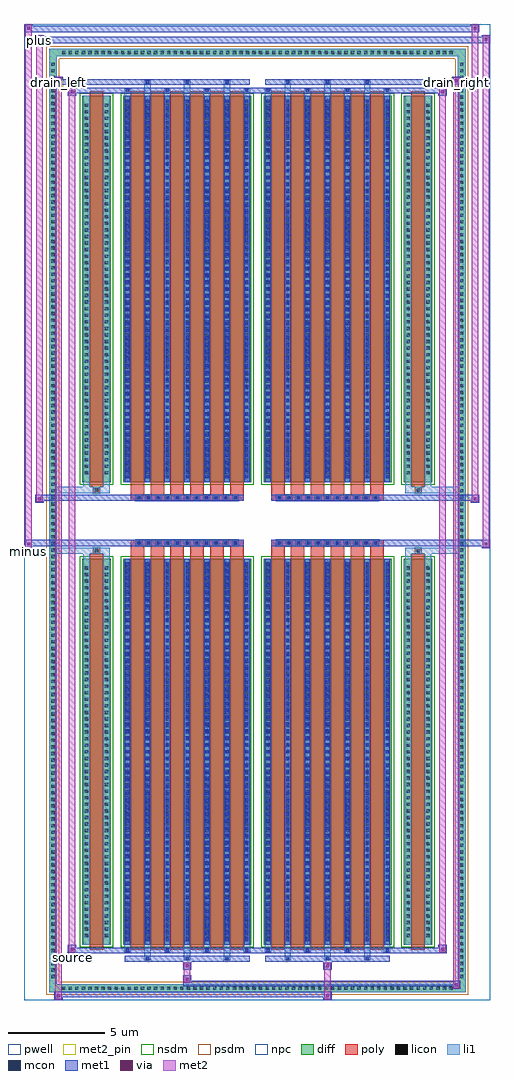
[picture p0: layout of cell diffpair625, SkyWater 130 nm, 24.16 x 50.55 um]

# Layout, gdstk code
import gdstk
lib = gdstk.Library(unit=1e-6, precision=5e-09)
def R(c, l, rs):  # rectangles x0, y0, x1, y1
    for r in rs: c.add(gdstk.rectangle(r[:2], r[2:], *l))
def A(c, l, x, y, w, h, nx, ny, dx, dy):  # array of equal rectangles
    R(c, l, [(x+i*dx, y+j*dy, x+i*dx+w, y+j*dy+h) for i in range(nx) for j in range(ny)])
def P(c, l, *ps):  # polygons
    for p in ps: c.add(gdstk.Polygon(p, *l))
pwell = (64, 44)
diff = (65, 20)
poly = (66, 20)
licon = (66, 44)
li1 = (67, 20)
mcon = (67, 44)
met1 = (68, 20)
via = (68, 44)
met2_pin = (69, 16)
met2 = (69, 20)
nsdm = (93, 44)
psdm = (94, 20)
npc = (95, 20)

diffpair625 = lib.new_cell('diffpair625')
R(diffpair625, pwell, [(-12.06,-24.84,12.06,25.71), (-9.38,-23.03,-0.01,-0.805), (0.01,-23.03,9.38,-0.805), (-9.38,0.805,-0.01,23.03), (0.01,0.805,9.38,23.03)])
A(diffpair625, diff, -10.235, -24.44, 0.41, 0.41, 60, 2, 0.34, 48.47)
A(diffpair625, diff, -10.79, -23.835, 0.41, 0.41, 1, 140, 0, 0.34)
A(diffpair625, diff, 10.38, -23.835, 0.41, 0.41, 1, 140, 0, 0.34)
R(diffpair625, diff, [(-10.235,-24.44,10.235,-24.03), (-10.79,-23.835,-10.38,23.835), (10.38,-23.835,10.79,23.835), (-9.07,-21.985,-7.59,-1.985), (-6.95,-21.985,-0.32,-1.985), (0.32,-21.985,6.95,-1.985), (7.59,-21.985,9.07,-1.985), (-9.07,1.985,-7.59,21.985), (-6.95,1.985,-0.32,21.985), (0.32,1.985,6.95,21.985), (7.59,1.985,9.07,21.985), (-10.235,24.03,10.235,24.44)])
P(diffpair625, diff, [(10.79,24.44),(-10.79,24.44),(-10.79,-24.03),(-10.38,-24.03),(-10.38,24.03),(10.38,24.03),(10.38,-24.03),(-10.38,-24.03),(-10.79,-24.03),(-10.79,-24.44),(10.79,-24.44)])
A(diffpair625, poly, -6.56, -22.235, 0.7, 20.5, 6, 2, 1.03, 23.97)
A(diffpair625, poly, 0.71, -22.235, 0.7, 20.5, 6, 2, 1.03, 23.97)
A(diffpair625, poly, -6.56, -1.735, 0.7, 0.4, 6, 2, 1.03, 3.07)
A(diffpair625, poly, 0.71, -1.735, 0.7, 0.4, 6, 2, 1.03, 3.07)
A(diffpair625, poly, -6.3, -1.335, 0.33, 0.33, 11, 2, 0.5, 2.34)
A(diffpair625, poly, 0.97, -1.335, 0.33, 0.33, 11, 2, 0.5, 2.34)
R(diffpair625, poly, [(-8.68,-22.235,-7.98,-1.735), (7.98,-22.235,8.68,-1.735), (-8.495,-1.735,-8.165,-1.405), (-8.495,-1.735,-8.165,-1.405), (8.165,-1.735,8.495,-1.405), (8.165,-1.735,8.495,-1.405), (-6.56,-1.335,-0.71,-1.005), (0.71,-1.335,6.56,-1.005), (-6.56,1.005,-0.71,1.335), (0.71,1.005,6.56,1.335), (-8.495,1.405,-8.165,1.735), (-8.495,1.405,-8.165,1.735), (8.165,1.405,8.495,1.735), (8.165,1.405,8.495,1.735), (-8.68,1.735,-7.98,22.235), (7.98,1.735,8.68,22.235)])
A(diffpair625, licon, -10.115, -24.32, 0.17, 0.17, 60, 2, 0.34, 48.47)
A(diffpair625, licon, -10.67, -23.715, 0.17, 0.17, 1, 140, 0, 0.34)
A(diffpair625, licon, 10.5, -23.715, 0.17, 0.17, 1, 140, 0, 0.34)
A(diffpair625, licon, -8.93, -21.59, 0.17, 0.17, 1, 57, 0, 0.34)
A(diffpair625, licon, -7.9, -21.59, 0.17, 0.17, 1, 57, 0, 0.34)
A(diffpair625, licon, -6.81, -21.59, 0.17, 0.17, 7, 57, 1.03, 0.34)
A(diffpair625, licon, 0.46, -21.59, 0.17, 0.17, 7, 57, 1.03, 0.34)
A(diffpair625, licon, 7.73, -21.59, 0.17, 0.17, 1, 57, 0, 0.34)
A(diffpair625, licon, 8.76, -21.59, 0.17, 0.17, 1, 57, 0, 0.34)
A(diffpair625, licon, -6.22, -1.255, 0.17, 0.17, 11, 2, 0.5, 2.34)
A(diffpair625, licon, 1.05, -1.255, 0.17, 0.17, 11, 2, 0.5, 2.34)
A(diffpair625, licon, -8.93, 2.38, 0.17, 0.17, 1, 57, 0, 0.34)
A(diffpair625, licon, -7.9, 2.38, 0.17, 0.17, 1, 57, 0, 0.34)
A(diffpair625, licon, -6.81, 2.38, 0.17, 0.17, 7, 57, 1.03, 0.34)
A(diffpair625, licon, 0.46, 2.38, 0.17, 0.17, 7, 57, 1.03, 0.34)
A(diffpair625, licon, 7.73, 2.38, 0.17, 0.17, 1, 57, 0, 0.34)
A(diffpair625, licon, 8.76, 2.38, 0.17, 0.17, 1, 57, 0, 0.34)
R(diffpair625, licon, [(-8.415,-1.655,-8.245,-1.485), (8.245,-1.655,8.415,-1.485), (-8.415,1.485,-8.245,1.655), (8.245,1.485,8.415,1.655)])
A(diffpair625, li1, -10.195, -24.4, 0.33, 0.33, 60, 2, 0.34, 48.47)
A(diffpair625, li1, -10.75, -23.795, 0.33, 0.33, 1, 140, 0, 0.34)
A(diffpair625, li1, 10.42, -23.795, 0.33, 0.33, 1, 140, 0, 0.34)
A(diffpair625, li1, -5.86, -22.79, 0.33, 0.805, 3, 2, 2.06, 44.775)
A(diffpair625, li1, -5.78, -22.79, 0.17, 0.17, 3, 2, 2.06, 45.41)
A(diffpair625, li1, 1.41, -22.79, 0.33, 0.805, 3, 2, 2.06, 44.775)
A(diffpair625, li1, 1.49, -22.79, 0.17, 0.17, 3, 2, 2.06, 45.41)
A(diffpair625, li1, -6.89, -22.36, 0.33, 0.375, 4, 2, 2.06, 44.345)
A(diffpair625, li1, -6.81, -22.36, 0.17, 0.17, 4, 2, 2.06, 44.55)
A(diffpair625, li1, 0.38, -22.36, 0.33, 0.375, 4, 2, 2.06, 44.345)
A(diffpair625, li1, 0.46, -22.36, 0.17, 0.17, 4, 2, 2.06, 44.55)
A(diffpair625, li1, -6.89, -21.985, 0.33, 20, 7, 2, 1.03, 23.97)
A(diffpair625, li1, 0.38, -21.985, 0.33, 20, 7, 2, 1.03, 23.97)
A(diffpair625, li1, -6.81, -21.79, 0.17, 0.17, 7, 55, 1.03, 0.36)
A(diffpair625, li1, -6.81, -21.79, 0.17, 19.61, 7, 2, 1.03, 23.97)
A(diffpair625, li1, 0.46, -21.79, 0.17, 0.17, 7, 55, 1.03, 0.36)
A(diffpair625, li1, 0.46, -21.79, 0.17, 19.61, 7, 2, 1.03, 23.97)
A(diffpair625, li1, -9.01, -21.67, 0.33, 0.33, 1, 57, 0, 0.34)
A(diffpair625, li1, -7.98, -21.67, 0.33, 0.33, 1, 57, 0, 0.34)
A(diffpair625, li1, -6.89, -21.67, 0.33, 0.33, 7, 57, 1.03, 0.34)
A(diffpair625, li1, 0.38, -21.67, 0.33, 0.33, 7, 57, 1.03, 0.34)
A(diffpair625, li1, 7.65, -21.67, 0.33, 0.33, 1, 57, 0, 0.34)
A(diffpair625, li1, 8.68, -21.67, 0.33, 0.33, 1, 57, 0, 0.34)
A(diffpair625, li1, -6.3, -1.335, 0.33, 0.33, 11, 2, 0.5, 2.34)
A(diffpair625, li1, 0.97, -1.335, 0.33, 0.33, 11, 2, 0.5, 2.34)
A(diffpair625, li1, -6.81, 2.18, 0.17, 0.17, 7, 55, 1.03, 0.36)
A(diffpair625, li1, 0.46, 2.18, 0.17, 0.17, 7, 55, 1.03, 0.36)
A(diffpair625, li1, -9.01, 2.3, 0.33, 0.33, 1, 57, 0, 0.34)
A(diffpair625, li1, -7.98, 2.3, 0.33, 0.33, 1, 57, 0, 0.34)
A(diffpair625, li1, -6.89, 2.3, 0.33, 0.33, 7, 57, 1.03, 0.34)
A(diffpair625, li1, 0.38, 2.3, 0.33, 0.33, 7, 57, 1.03, 0.34)
A(diffpair625, li1, 7.65, 2.3, 0.33, 0.33, 1, 57, 0, 0.34)
A(diffpair625, li1, 8.68, 2.3, 0.33, 0.33, 1, 57, 0, 0.34)
R(diffpair625, li1, [(-10.79,-24.44,-10.38,-24.03), (-10.79,-24.44,-10.38,-24.03), (-10.38,-24.44,10.38,-24.03), (10.38,-24.44,10.79,-24.03), (10.38,-24.44,10.79,-24.03), (-10.79,-24.03,-10.38,24.03), (10.38,-24.03,10.79,24.03), (-9.01,-21.985,-8.68,-1.985), (-7.98,-21.985,-7.65,-1.985), (7.65,-21.985,7.98,-1.985), (8.68,-21.985,9.01,-1.985), (-9.01,-1.985,-8.68,-1.405), (-7.98,-1.985,-7.65,-1.405), (7.65,-1.985,7.98,-1.405), (8.68,-1.985,9.01,-1.405), (-10.79,-1.735,-8.495,-1.405), (-9.01,-1.735,-8.495,-1.405), (-8.495,-1.735,-8.165,-1.405), (-8.165,-1.735,-7.65,-1.405), (7.65,-1.735,8.165,-1.405), (8.165,-1.735,8.495,-1.405), (8.165,-1.735,10.79,-1.405), (8.495,-1.735,9.01,-1.405), (-10.79,1.405,-8.495,1.735), (-9.01,1.405,-8.495,1.735), (-9.01,1.405,-8.68,1.985), (-8.495,1.405,-8.165,1.735), (-8.165,1.405,-7.65,1.735), (-7.98,1.405,-7.65,1.985), (7.65,1.405,8.165,1.735), (7.65,1.405,7.98,1.985), (8.165,1.405,8.495,1.735), (8.165,1.405,10.79,1.735), (8.495,1.405,9.01,1.735), (8.68,1.405,9.01,1.985), (-9.01,1.985,-8.68,21.985), (-7.98,1.985,-7.65,21.985), (7.65,1.985,7.98,21.985), (8.68,1.985,9.01,21.985), (-10.79,24.03,-10.38,24.44), (-10.79,24.03,-10.38,24.44), (-10.38,24.03,10.38,24.44), (10.38,24.03,10.79,24.44), (10.38,24.03,10.79,24.44)])
A(diffpair625, mcon, -5.78, -22.79, 0.17, 0.17, 3, 2, 2.06, 45.41)
A(diffpair625, mcon, 1.49, -22.79, 0.17, 0.17, 3, 2, 2.06, 45.41)
A(diffpair625, mcon, -6.81, -22.36, 0.17, 0.17, 4, 2, 2.06, 44.55)
A(diffpair625, mcon, 0.46, -22.36, 0.17, 0.17, 4, 2, 2.06, 44.55)
A(diffpair625, mcon, -6.81, -21.79, 0.17, 0.17, 7, 55, 1.03, 0.36)
A(diffpair625, mcon, 0.46, -21.79, 0.17, 0.17, 7, 55, 1.03, 0.36)
A(diffpair625, mcon, -6.22, -1.255, 0.17, 0.17, 11, 2, 0.5, 2.34)
A(diffpair625, mcon, 1.05, -1.255, 0.17, 0.17, 11, 2, 0.5, 2.34)
A(diffpair625, mcon, -6.81, 2.18, 0.17, 0.17, 7, 55, 1.03, 0.36)
A(diffpair625, mcon, 0.46, 2.18, 0.17, 0.17, 7, 55, 1.03, 0.36)
A(diffpair625, met1, -5.84, -22.85, 0.29, 0.29, 3, 2, 2.06, 45.41)
A(diffpair625, met1, 1.43, -22.85, 0.29, 0.29, 3, 2, 2.06, 45.41)
A(diffpair625, met1, -6.87, -22.42, 0.29, 0.29, 4, 2, 2.06, 44.55)
A(diffpair625, met1, 0.4, -22.42, 0.29, 0.29, 4, 2, 2.06, 44.55)
A(diffpair625, met1, -6.87, -21.985, 0.29, 20, 7, 2, 1.03, 23.97)
A(diffpair625, met1, 0.4, -21.985, 0.29, 20, 7, 2, 1.03, 23.97)
A(diffpair625, met1, -6.87, -21.85, 0.29, 0.29, 7, 55, 1.03, 0.36)
A(diffpair625, met1, 0.4, -21.85, 0.29, 0.29, 7, 55, 1.03, 0.36)
A(diffpair625, met1, -6.28, -1.315, 0.29, 0.29, 11, 2, 0.5, 2.34)
A(diffpair625, met1, 0.99, -1.315, 0.29, 0.29, 11, 2, 0.5, 2.34)
A(diffpair625, met1, -6.87, 2.12, 0.29, 0.29, 7, 55, 1.03, 0.36)
A(diffpair625, met1, 0.4, 2.12, 0.29, 0.29, 7, 55, 1.03, 0.36)
R(diffpair625, met1, [(-10.52,-24.84,-10.09,-24.41), (3.42,-24.84,3.85,-24.41), (-10.52,-24.7,3.85,-24.41), (10.09,-24.27,10.52,-23.84), (-3.85,-24.13,10.52,-23.84), (-3.85,-23.99,-3.42,-23.56), (-3.85,-23.28,-3.42,-22.85), (3.42,-23.28,3.85,-22.85), (-6.87,-22.85,-0.4,-22.56), (0.4,-22.85,6.87,-22.56), (-9.81,-22.42,-9.38,-21.99), (-9.81,-22.42,-6.87,-22.13), (-6.87,-22.42,-0.4,-22.13), (-0.4,-22.42,0.4,-22.13), (0.4,-22.42,6.87,-22.13), (6.87,-22.42,9.81,-22.13), (9.38,-22.42,9.81,-21.99), (-12.06,-1.435,-11.63,-1.005), (11.63,-1.435,12.06,-1.005), (-12.06,-1.335,-0.71,-1.005), (-6.56,-1.335,-0.71,-1.005), (0.71,-1.335,6.56,-1.005), (0.71,-1.335,12.06,-1.005), (-11.49,0.905,-11.06,1.335), (11.06,0.905,11.49,1.335), (-11.49,1.005,-6.56,1.335), (-6.56,1.005,-0.71,1.335), (0.71,1.005,6.56,1.335), (6.56,1.005,11.49,1.335), (-9.81,21.99,-9.38,22.42), (9.38,21.99,9.81,22.42), (-9.81,22.13,-6.87,22.42), (-6.87,22.13,-0.4,22.42), (-0.4,22.13,0.4,22.42), (0.4,22.13,6.87,22.42), (6.87,22.13,9.81,22.42), (-10.52,22.56,-10.09,22.99), (-10.52,22.56,-6.87,22.85), (-6.87,22.56,-0.4,22.85), (0.4,22.56,6.87,22.85), (6.87,22.56,10.52,22.85), (10.09,22.56,10.52,22.99), (-11.49,24.71,-11.06,25.14), (-11.49,24.71,-9.38,25.04), (-9.38,24.71,9.38,25.04), (9.38,24.71,12.06,25.04), (11.63,24.71,12.06,25.14), (-12.06,25.28,-11.63,25.71), (-12.06,25.28,-9.38,25.61), (-9.38,25.28,9.38,25.61), (9.38,25.28,11.49,25.61), (11.06,25.28,11.49,25.71)])
R(diffpair625, via, [(-10.38,-24.7,-10.23,-24.55), (3.56,-24.7,3.71,-24.55), (10.23,-24.13,10.38,-23.98), (-3.71,-23.85,-3.56,-23.7), (-3.71,-23.14,-3.56,-22.99), (3.56,-23.14,3.71,-22.99), (-9.67,-22.28,-9.52,-22.13), (9.52,-22.28,9.67,-22.13), (-11.92,-1.295,-11.77,-1.145), (11.77,-1.295,11.92,-1.145), (-11.35,1.045,-11.2,1.195), (11.2,1.045,11.35,1.195), (-9.67,22.13,-9.52,22.28), (9.52,22.13,9.67,22.28), (-10.38,22.7,-10.23,22.85), (10.23,22.7,10.38,22.85), (-11.35,24.85,-11.2,25), (11.77,24.85,11.92,25), (-11.92,25.42,-11.77,25.57), (11.2,25.42,11.35,25.57)])
R(diffpair625, met2_pin, [(-9.845,-22.87,-9.345,-22.37), (-12.095,-1.885,-11.595,-1.385), (-10.555,22.44,-10.055,22.94), (10.055,22.44,10.555,22.94), (-11.525,24.59,-11.025,25.09)])
R(diffpair625, met2, [(-10.47,-24.79,-10.14,-24.46), (-10.47,-24.79,-10.14,22.94), (3.47,-24.79,3.8,-24.46), (3.47,-24.46,3.8,-23.23), (10.14,-24.22,10.47,-23.89), (10.14,-24.22,10.47,22.94), (-3.8,-23.94,-3.47,-23.61), (-3.8,-23.61,-3.47,-23.23), (-3.8,-23.23,-3.47,-22.9), (3.47,-23.23,3.8,-22.9), (-9.76,-22.37,-9.43,-22.04), (-9.76,-22.37,-9.43,22.37), (9.43,-22.37,9.76,-22.04), (9.43,-22.37,9.76,22.37), (-12.01,-1.385,-11.68,-1.055), (-12.01,-1.385,-11.68,25.66), (11.68,-1.385,12.01,-1.055), (11.68,-1.385,12.01,25.09), (-11.44,0.955,-11.11,1.285), (-11.44,0.955,-11.11,25.09), (11.11,0.955,11.44,1.285), (11.11,0.955,11.44,25.66), (-9.76,22.04,-9.43,22.37), (9.43,22.04,9.76,22.37), (-10.47,22.61,-10.14,22.94), (10.14,22.61,10.47,22.94), (-11.44,24.76,-11.11,25.09), (11.68,24.76,12.01,25.09), (-12.01,25.33,-11.68,25.66), (11.11,25.33,11.44,25.66)])
P(diffpair625, met2, [(12.01,-1.385),(12.01,-1.385),(12.01,-1.055),(12.01,-1.055)],
  [(12.01,24.76),(12.01,24.76),(12.01,25.09),(12.01,25.09)],
  [(-11.68,-1.385),(-11.68,-1.385),(-11.68,-1.055),(-11.68,-1.055)],
  [(-11.68,25.33),(-11.68,25.33),(-11.68,25.66),(-11.68,25.66)],
  [(11.44,0.955),(11.44,0.955),(11.44,1.285),(11.44,1.285)],
  [(11.44,25.33),(11.44,25.33),(11.44,25.66),(11.44,25.66)],
  [(-11.11,0.955),(-11.11,0.955),(-11.11,1.285),(-11.11,1.285)],
  [(-11.11,24.76),(-11.11,24.76),(-11.11,25.09),(-11.11,25.09)],
  [(-10.14,-24.79),(-10.14,-24.79),(-10.14,-24.46),(-10.14,-24.46)],
  [(-10.14,22.61),(-10.14,22.61),(-10.14,22.94),(-10.14,22.94)],
  [(10.47,-24.22),(10.47,-24.22),(10.47,-23.89),(10.47,-23.89)],
  [(10.47,22.61),(10.47,22.61),(10.47,22.94),(10.47,22.94)],
  [(-9.43,-22.37),(-9.43,-22.37),(-9.43,-22.04),(-9.43,-22.04)],
  [(-9.43,22.04),(-9.43,22.04),(-9.43,22.37),(-9.43,22.37)],
  [(9.76,-22.37),(9.76,-22.37),(9.76,-22.04),(9.76,-22.04)],
  [(9.76,22.04),(9.76,22.04),(9.76,22.37),(9.76,22.37)])
R(diffpair625, nsdm, [(-9.2,-22.115,-7.46,-1.855), (-7.08,-22.115,-0.19,-1.855), (0.19,-22.115,7.08,-1.855), (7.46,-22.115,9.2,-1.855), (-9.2,1.855,-7.46,22.115), (-7.08,1.855,-0.19,22.115), (0.19,1.855,7.08,22.115), (7.46,1.855,9.2,22.115)])
P(diffpair625, psdm, [(10.92,24.57),(-10.92,24.57),(-10.92,-23.9),(-10.25,-23.9),(-10.25,23.9),(10.25,23.9),(10.25,-23.9),(-10.25,-23.9),(-10.92,-23.9),(-10.92,-24.57),(10.92,-24.57)])
A(diffpair625, npc, -6.32, -1.355, 0.37, 0.37, 11, 2, 0.5, 2.34)
A(diffpair625, npc, 0.95, -1.355, 0.37, 0.37, 11, 2, 0.5, 2.34)
R(diffpair625, npc, [(-8.515,-1.755,-8.145,-1.385), (8.145,-1.755,8.515,-1.385), (-6.32,-1.355,-5.45,-0.985), (-6.32,-1.355,-5.45,-0.985), (-5.82,-1.355,-4.95,-0.985), (-5.82,-1.355,-4.95,-0.985), (-5.32,-1.355,-4.45,-0.985), (-5.32,-1.355,-4.45,-0.985), (-4.82,-1.355,-3.95,-0.985), (-4.82,-1.355,-3.95,-0.985), (-4.32,-1.355,-3.45,-0.985), (-4.32,-1.355,-3.45,-0.985), (-3.82,-1.355,-2.95,-0.985), (-3.82,-1.355,-2.95,-0.985), (-3.32,-1.355,-2.45,-0.985), (-3.32,-1.355,-2.45,-0.985), (-2.82,-1.355,-1.95,-0.985), (-2.82,-1.355,-1.95,-0.985), (-2.32,-1.355,-1.45,-0.985), (-2.32,-1.355,-1.45,-0.985), (-1.82,-1.355,-0.95,-0.985), (-1.82,-1.355,-0.95,-0.985), (0.95,-1.355,1.82,-0.985), (0.95,-1.355,1.82,-0.985), (1.45,-1.355,2.32,-0.985), (1.45,-1.355,2.32,-0.985), (1.95,-1.355,2.82,-0.985), (1.95,-1.355,2.82,-0.985), (2.45,-1.355,3.32,-0.985), (2.45,-1.355,3.32,-0.985), (2.95,-1.355,3.82,-0.985), (2.95,-1.355,3.82,-0.985), (3.45,-1.355,4.32,-0.985), (3.45,-1.355,4.32,-0.985), (3.95,-1.355,4.82,-0.985), (3.95,-1.355,4.82,-0.985), (4.45,-1.355,5.32,-0.985), (4.45,-1.355,5.32,-0.985), (4.95,-1.355,5.82,-0.985), (4.95,-1.355,5.82,-0.985), (5.45,-1.355,6.32,-0.985), (5.45,-1.355,6.32,-0.985), (-6.32,0.985,-5.45,1.355), (-6.32,0.985,-5.45,1.355), (-5.82,0.985,-4.95,1.355), (-5.82,0.985,-4.95,1.355), (-5.32,0.985,-4.45,1.355), (-5.32,0.985,-4.45,1.355), (-4.82,0.985,-3.95,1.355), (-4.82,0.985,-3.95,1.355), (-4.32,0.985,-3.45,1.355), (-4.32,0.985,-3.45,1.355), (-3.82,0.985,-2.95,1.355), (-3.82,0.985,-2.95,1.355), (-3.32,0.985,-2.45,1.355), (-3.32,0.985,-2.45,1.355), (-2.82,0.985,-1.95,1.355), (-2.82,0.985,-1.95,1.355), (-2.32,0.985,-1.45,1.355), (-2.32,0.985,-1.45,1.355), (-1.82,0.985,-0.95,1.355), (-1.82,0.985,-0.95,1.355), (0.95,0.985,1.82,1.355), (0.95,0.985,1.82,1.355), (1.45,0.985,2.32,1.355), (1.45,0.985,2.32,1.355), (1.95,0.985,2.82,1.355), (1.95,0.985,2.82,1.355), (2.45,0.985,3.32,1.355), (2.45,0.985,3.32,1.355), (2.95,0.985,3.82,1.355), (2.95,0.985,3.82,1.355), (3.45,0.985,4.32,1.355), (3.45,0.985,4.32,1.355), (3.95,0.985,4.82,1.355), (3.95,0.985,4.82,1.355), (4.45,0.985,5.32,1.355), (4.45,0.985,5.32,1.355), (4.95,0.985,5.82,1.355), (4.95,0.985,5.82,1.355), (5.45,0.985,6.32,1.355), (5.45,0.985,6.32,1.355), (-8.515,1.385,-8.145,1.755), (8.145,1.385,8.515,1.755)])
diffpair625.add(gdstk.Label('minus', (-11.845,-1.635), layer=69, texttype=5))
diffpair625.add(gdstk.Label('drain_right', (10.305,22.69), layer=69, texttype=5))
diffpair625.add(gdstk.Label('drain_left', (-10.305,22.69), layer=69, texttype=5))
diffpair625.add(gdstk.Label('source', (-9.595,-22.62), layer=69, texttype=5))
diffpair625.add(gdstk.Label('plus', (-11.275,24.84), layer=69, texttype=5))

lib.write_gds('diffpair625.gds')
